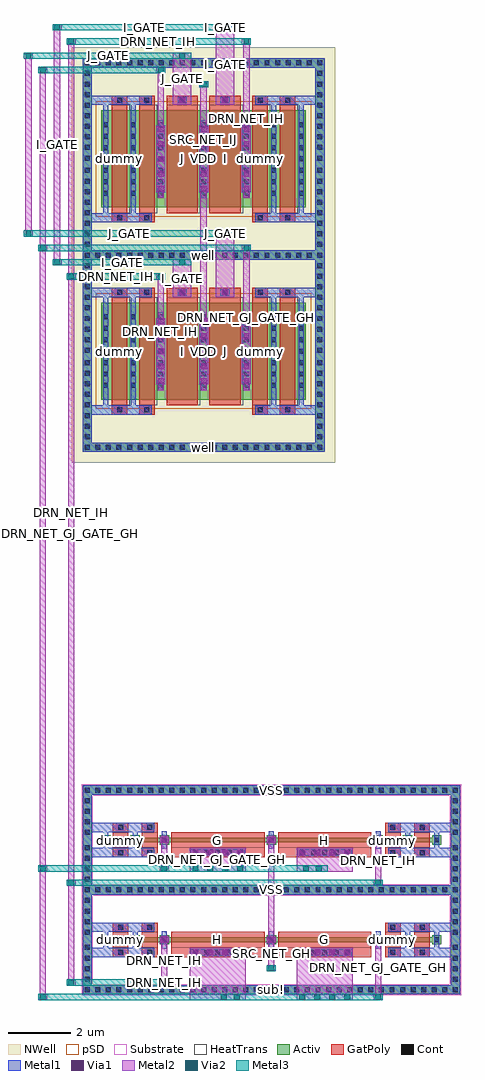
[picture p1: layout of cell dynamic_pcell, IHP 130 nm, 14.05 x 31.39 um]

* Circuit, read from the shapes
.subckt dynamic_pcell DRN_NET_GJ_GATE_GH DRN_NET_IH I_GATE J_GATE SRC_NET_GH SRC_NET_IJ VDD VSS
XM1 VSS VSS VSS VSS sg13_lv_nmos w=0.15u l=0.5u m=4
XM2 DRN_NET_IH VSS VSS VSS sg13_lv_nmos w=0.15u l=0.5u m=2
XM3 DRN_NET_GJ_GATE_GH VSS VSS VSS sg13_lv_nmos w=0.15u l=0.5u m=2
XM4 SRC_NET_GH DRN_NET_GJ_GATE_GH DRN_NET_IH VSS sg13_lv_nmos w=0.15u l=3u m=2
XM5 SRC_NET_GH DRN_NET_GJ_GATE_GH DRN_NET_GJ_GATE_GH VSS sg13_lv_nmos w=0.15u l=3u m=2
XM6 VDD VDD VDD VDD sg13_lv_pmos w=3.12u l=0.5u m=4
XM7 DRN_NET_IH VDD VDD VDD sg13_lv_pmos w=3.12u l=0.5u m=2
XM8 DRN_NET_GJ_GATE_GH VDD VDD VDD sg13_lv_pmos w=3.12u l=0.5u m=2
XM9 SRC_NET_IJ I_GATE DRN_NET_IH VDD sg13_lv_pmos w=3.12u l=1u m=2
XM10 SRC_NET_IJ J_GATE DRN_NET_GJ_GATE_GH VDD sg13_lv_pmos w=3.12u l=1u m=2
.ends

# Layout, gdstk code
import gdstk
lib = gdstk.Library(unit=1e-6, precision=1e-09)
def R(c, l, rs):  # rectangles x0, y0, x1, y1
    for r in rs: c.add(gdstk.rectangle(r[:2], r[2:], *l))
def A(c, l, x, y, w, h, nx, ny, dx, dy):  # array of equal rectangles
    R(c, l, [(x+i*dx, y+j*dy, x+i*dx+w, y+j*dy+h) for i in range(nx) for j in range(ny)])
def P(c, l, *ps):  # polygons
    for p in ps: c.add(gdstk.Polygon(p, *l))
Activ = (1, 0)
GatPoly = (5, 0)
Cont = (6, 0)
Metal1 = (8, 0)
Metal2 = (10, 0)
pSD = (14, 0)
Via1 = (19, 0)
Via2 = (29, 0)
Metal3 = (30, 0)
NWell = (31, 0)
Substrate = (40, 0)
HeatTrans = (51, 0)

dynamic_pcell = lib.new_cell('dynamic_pcell')
A(dynamic_pcell, Activ, 0, -17.52, 0.3, 0.3, 3, 2, 0.94, 3.21)
A(dynamic_pcell, Activ, 8.76, -17.52, 0.3, 0.3, 3, 2, 0.94, 3.21)
A(dynamic_pcell, Activ, 0, 0, 0.3, 0.3, 3, 2, 0.88, 6.18)
A(dynamic_pcell, Activ, 4.52, 0, 0.3, 0.3, 3, 2, 0.88, 6.18)
R(dynamic_pcell, Activ, [(-0.6,-19.125,11.54,-18.825), (-0.6,-18.825,-0.3,-15.915), (11.24,-18.825,11.54,-15.915), (1.88,-17.52,2.18,-17.22), (5.32,-17.52,5.62,-17.22), (5.32,-17.52,5.62,-17.22), (8.76,-17.52,9.06,-17.22), (0,-17.445,2.18,-17.295), (1.88,-17.445,5.62,-17.295), (5.32,-17.445,9.06,-17.295), (8.76,-17.445,10.94,-17.295), (-0.6,-15.915,11.54,-15.615), (-0.6,-15.615,-0.3,-12.705), (11.24,-15.615,11.54,-12.705), (1.88,-14.31,2.18,-14.01), (5.32,-14.31,5.62,-14.01), (5.32,-14.31,5.62,-14.01), (8.76,-14.31,9.06,-14.01), (0,-14.235,2.18,-14.085), (1.88,-14.235,5.62,-14.085), (5.32,-14.235,9.06,-14.085), (8.76,-14.235,10.94,-14.085), (-0.6,-1.68,7.18,-1.38), (-0.6,-1.38,-0.3,4.5), (6.88,-1.38,7.18,4.5), (0,0,2.06,3.12), (1.76,0,2.06,0.3), (1.76,0,3.44,3.12), (3.14,0,3.44,0.3), (3.14,0,3.44,0.3), (3.14,0,4.82,3.12), (4.52,0,4.82,0.3), (4.52,0,6.58,3.12), (-0.6,4.5,7.18,4.8), (-0.6,4.8,-0.3,10.68), (6.88,4.8,7.18,10.68), (0,6.18,2.06,9.3), (1.76,6.18,2.06,6.48), (1.76,6.18,3.44,9.3), (3.14,6.18,3.44,6.48), (3.14,6.18,3.44,6.48), (3.14,6.18,4.82,9.3), (4.52,6.18,4.82,6.48), (4.52,6.18,6.58,9.3)])
P(dynamic_pcell, Activ, [(-0.6,-1.68),(-0.6,4.5),(-0.3,4.5),(-0.3,-1.38),(6.88,-1.38),(6.88,4.5),(-0.6,4.5),(-0.6,4.8),(7.18,4.8),(7.18,-1.68)],
  [(-0.6,4.5),(-0.6,10.68),(-0.3,10.68),(-0.3,4.8),(6.88,4.8),(6.88,10.68),(-0.6,10.68),(-0.6,10.98),(7.18,10.98),(7.18,4.5)],
  [(-0.6,-15.915),(-0.6,-12.705),(-0.3,-12.705),(-0.3,-15.615),(11.24,-15.615),(11.24,-12.705),(-0.6,-12.705),(-0.6,-12.405),(11.54,-12.405),(11.54,-15.915)],
  [(-0.6,-19.125),(-0.6,-15.915),(-0.3,-15.915),(-0.3,-18.825),(11.24,-18.825),(11.24,-15.915),(-0.6,-15.915),(-0.6,-15.615),(11.54,-15.615),(11.54,-19.125)])
R(dynamic_pcell, GatPoly, [(0.37,-17.925,0.87,-17.625), (0.47,-17.925,0.77,-17.625), (1.31,-17.925,1.81,-17.625), (1.41,-17.925,1.71,-17.625), (2.25,-17.925,5.25,-17.625), (2.85,-17.925,4.65,-17.625), (5.69,-17.925,8.69,-17.625), (6.29,-17.925,8.09,-17.625), (9.13,-17.925,9.63,-17.625), (9.23,-17.925,9.53,-17.625), (10.07,-17.925,10.57,-17.625), (10.17,-17.925,10.47,-17.625), (0.37,-17.625,0.87,-17.115), (1.31,-17.625,1.81,-17.115), (2.25,-17.625,5.25,-17.115), (5.69,-17.625,8.69,-17.115), (9.13,-17.625,9.63,-17.115), (10.07,-17.625,10.57,-17.115), (0.37,-17.115,0.87,-16.815), (0.47,-17.115,0.77,-16.815), (1.31,-17.115,1.81,-16.815), (1.41,-17.115,1.71,-16.815), (9.13,-17.115,9.63,-16.815), (9.23,-17.115,9.53,-16.815), (10.07,-17.115,10.57,-16.815), (10.17,-17.115,10.47,-16.815), (0.37,-14.715,0.87,-14.415), (0.47,-14.715,0.77,-14.415), (1.31,-14.715,1.81,-14.415), (1.41,-14.715,1.71,-14.415), (2.25,-14.715,5.25,-14.415), (2.85,-14.715,4.65,-14.415), (5.69,-14.715,8.69,-14.415), (6.29,-14.715,8.09,-14.415), (9.13,-14.715,9.63,-14.415), (9.23,-14.715,9.53,-14.415), (10.07,-14.715,10.57,-14.415), (10.17,-14.715,10.47,-14.415), (0.37,-14.415,0.87,-13.905), (1.31,-14.415,1.81,-13.905), (2.25,-14.415,5.25,-13.905), (5.69,-14.415,8.69,-13.905), (9.13,-14.415,9.63,-13.905), (10.07,-14.415,10.57,-13.905), (0.37,-13.905,0.87,-13.605), (0.47,-13.905,0.77,-13.605), (1.31,-13.905,1.81,-13.605), (1.41,-13.905,1.71,-13.605), (9.13,-13.905,9.63,-13.605), (9.23,-13.905,9.53,-13.605), (10.07,-13.905,10.57,-13.605), (10.17,-13.905,10.47,-13.605), (0.34,-0.48,0.84,-0.18), (0.44,-0.48,0.74,-0.18), (1.22,-0.48,1.72,-0.18), (1.32,-0.48,1.62,-0.18), (4.86,-0.48,5.36,-0.18), (4.96,-0.48,5.26,-0.18), (5.74,-0.48,6.24,-0.18), (5.84,-0.48,6.14,-0.18), (0.34,-0.18,0.84,3.3), (1.22,-0.18,1.72,3.3), (2.1,-0.18,3.1,3.3), (3.48,-0.18,4.48,3.3), (4.86,-0.18,5.36,3.3), (5.74,-0.18,6.24,3.3), (0.34,3.3,0.84,3.6), (0.44,3.3,0.74,3.6), (1.22,3.3,1.72,3.6), (1.32,3.3,1.62,3.6), (2.1,3.3,3.1,3.6), (2.3,3.3,2.9,3.6), (3.48,3.3,4.48,3.6), (3.68,3.3,4.28,3.6), (4.86,3.3,5.36,3.6), (4.96,3.3,5.26,3.6), (5.74,3.3,6.24,3.6), (5.84,3.3,6.14,3.6), (0.34,5.7,0.84,6), (0.44,5.7,0.74,6), (1.22,5.7,1.72,6), (1.32,5.7,1.62,6), (4.86,5.7,5.36,6), (4.96,5.7,5.26,6), (5.74,5.7,6.24,6), (5.84,5.7,6.14,6), (0.34,6,0.84,9.48), (1.22,6,1.72,9.48), (2.1,6,3.1,9.48), (3.48,6,4.48,9.48), (4.86,6,5.36,9.48), (5.74,6,6.24,9.48), (0.34,9.48,0.84,9.78), (0.44,9.48,0.74,9.78), (1.22,9.48,1.72,9.78), (1.32,9.48,1.62,9.78), (2.1,9.48,3.1,9.78), (2.3,9.48,2.9,9.78), (3.48,9.48,4.48,9.78), (3.68,9.48,4.28,9.78), (4.86,9.48,5.36,9.78), (4.96,9.48,5.26,9.78), (5.74,9.48,6.24,9.78), (5.84,9.48,6.14,9.78)])
A(dynamic_pcell, Cont, -0.53, -19.055, 0.16, 0.16, 17, 2, 0.34, 6.42)
A(dynamic_pcell, Cont, 5.53, -19.055, 0.16, 0.16, 18, 2, 0.34, 6.42)
A(dynamic_pcell, Cont, -0.53, -18.715, 0.16, 0.16, 1, 4, 0, 0.34)
A(dynamic_pcell, Cont, 11.31, -18.715, 0.16, 0.16, 1, 4, 0, 0.34)
A(dynamic_pcell, Cont, 2.95, -17.855, 0.16, 0.16, 5, 2, 0.36, 3.21)
A(dynamic_pcell, Cont, 6.39, -17.855, 0.16, 0.16, 5, 2, 0.36, 3.21)
A(dynamic_pcell, Cont, 0.07, -17.45, 0.16, 0.16, 3, 2, 0.94, 3.21)
A(dynamic_pcell, Cont, 8.83, -17.45, 0.16, 0.16, 3, 2, 0.94, 3.21)
A(dynamic_pcell, Cont, -0.53, -17.205, 0.16, 0.16, 1, 5, 0, 0.34)
A(dynamic_pcell, Cont, 11.31, -17.205, 0.16, 0.16, 1, 5, 0, 0.34)
A(dynamic_pcell, Cont, -0.53, -15.845, 0.16, 0.16, 1, 5, 0, 0.34)
A(dynamic_pcell, Cont, 11.31, -15.845, 0.16, 0.16, 1, 5, 0, 0.34)
A(dynamic_pcell, Cont, -0.53, -13.995, 0.16, 0.16, 1, 4, 0, 0.34)
A(dynamic_pcell, Cont, 11.31, -13.995, 0.16, 0.16, 1, 4, 0, 0.34)
A(dynamic_pcell, Cont, -0.53, -1.61, 0.16, 0.16, 23, 2, 0.34, 12.36)
A(dynamic_pcell, Cont, -0.53, -1.27, 0.16, 0.16, 1, 8, 0, 0.34)
A(dynamic_pcell, Cont, 6.95, -1.27, 0.16, 0.16, 1, 8, 0, 0.34)
A(dynamic_pcell, Cont, 0.07, 0.38, 0.16, 0.16, 3, 3, 0.88, 0.365)
A(dynamic_pcell, Cont, 1.83, 0.38, 0.16, 0.16, 1, 3, 0, 0.365)
A(dynamic_pcell, Cont, 4.59, 0.38, 0.16, 0.16, 1, 3, 0, 0.365)
A(dynamic_pcell, Cont, 4.59, 0.38, 0.16, 0.16, 3, 3, 0.88, 0.365)
A(dynamic_pcell, Cont, 0.07, 1.48, 0.16, 0.16, 3, 3, 0.88, 0.365)
A(dynamic_pcell, Cont, 1.83, 1.48, 0.16, 0.16, 1, 3, 0, 0.365)
A(dynamic_pcell, Cont, 4.59, 1.48, 0.16, 0.16, 1, 3, 0, 0.365)
A(dynamic_pcell, Cont, 4.59, 1.48, 0.16, 0.16, 3, 3, 0.88, 0.365)
A(dynamic_pcell, Cont, -0.53, 1.51, 0.16, 0.16, 1, 10, 0, 0.34)
A(dynamic_pcell, Cont, 6.95, 1.51, 0.16, 0.16, 1, 10, 0, 0.34)
A(dynamic_pcell, Cont, 0.07, 2.58, 0.16, 0.16, 3, 2, 0.88, 3.98)
A(dynamic_pcell, Cont, 4.59, 2.58, 0.16, 0.16, 3, 2, 0.88, 3.98)
A(dynamic_pcell, Cont, -0.53, 4.57, 0.16, 0.16, 1, 9, 0, 0.34)
A(dynamic_pcell, Cont, 6.95, 4.57, 0.16, 0.16, 1, 9, 0, 0.34)
A(dynamic_pcell, Cont, 1.83, 6.56, 0.16, 0.16, 1, 3, 0, 0.365)
A(dynamic_pcell, Cont, 4.59, 6.56, 0.16, 0.16, 1, 3, 0, 0.365)
A(dynamic_pcell, Cont, 0.07, 6.925, 0.16, 0.16, 3, 2, 0.88, 0.365)
A(dynamic_pcell, Cont, 4.59, 6.925, 0.16, 0.16, 3, 2, 0.88, 0.365)
A(dynamic_pcell, Cont, 0.07, 7.66, 0.16, 0.16, 3, 3, 0.88, 0.365)
A(dynamic_pcell, Cont, 1.83, 7.66, 0.16, 0.16, 1, 3, 0, 0.365)
A(dynamic_pcell, Cont, 4.59, 7.66, 0.16, 0.16, 1, 3, 0, 0.365)
A(dynamic_pcell, Cont, 4.59, 7.66, 0.16, 0.16, 3, 3, 0.88, 0.365)
A(dynamic_pcell, Cont, -0.53, 7.69, 0.16, 0.16, 1, 9, 0, 0.34)
A(dynamic_pcell, Cont, 6.95, 7.69, 0.16, 0.16, 1, 9, 0, 0.34)
A(dynamic_pcell, Cont, 0.07, 8.76, 0.16, 0.16, 3, 1, 0.88, 0)
A(dynamic_pcell, Cont, 4.59, 8.76, 0.16, 0.16, 3, 1, 0.88, 0)
R(dynamic_pcell, Cont, [(0.54,-17.855,0.7,-17.695), (1.48,-17.855,1.64,-17.695), (9.3,-17.855,9.46,-17.695), (10.24,-17.855,10.4,-17.695), (1.95,-17.45,2.11,-17.29), (5.39,-17.45,5.55,-17.29), (5.39,-17.45,5.55,-17.29), (8.83,-17.45,8.99,-17.29), (0.54,-17.045,0.7,-16.885), (1.48,-17.045,1.64,-16.885), (9.3,-17.045,9.46,-16.885), (10.24,-17.045,10.4,-16.885), (-0.19,-15.845,-0.03,-15.685), (-0.19,-15.845,-0.03,-15.685), (0.15,-15.845,0.31,-15.685), (0.15,-15.845,0.31,-15.685), (0.49,-15.845,0.65,-15.685), (0.49,-15.845,0.65,-15.685), (0.83,-15.845,0.99,-15.685), (0.83,-15.845,0.99,-15.685), (1.17,-15.845,1.33,-15.685), (1.17,-15.845,1.33,-15.685), (1.51,-15.845,1.67,-15.685), (1.51,-15.845,1.67,-15.685), (1.85,-15.845,2.01,-15.685), (1.85,-15.845,2.01,-15.685), (2.19,-15.845,2.35,-15.685), (2.19,-15.845,2.35,-15.685), (2.53,-15.845,2.69,-15.685), (2.53,-15.845,2.69,-15.685), (2.87,-15.845,3.03,-15.685), (2.87,-15.845,3.03,-15.685), (3.21,-15.845,3.37,-15.685), (3.21,-15.845,3.37,-15.685), (3.55,-15.845,3.71,-15.685), (3.55,-15.845,3.71,-15.685), (3.89,-15.845,4.05,-15.685), (3.89,-15.845,4.05,-15.685), (4.23,-15.845,4.39,-15.685), (4.23,-15.845,4.39,-15.685), (4.57,-15.845,4.73,-15.685), (4.57,-15.845,4.73,-15.685), (4.91,-15.845,5.07,-15.685), (4.91,-15.845,5.07,-15.685), (5.53,-15.845,5.69,-15.685), (5.53,-15.845,5.69,-15.685), (5.87,-15.845,6.03,-15.685), (5.87,-15.845,6.03,-15.685), (6.21,-15.845,6.37,-15.685), (6.21,-15.845,6.37,-15.685), (6.55,-15.845,6.71,-15.685), (6.55,-15.845,6.71,-15.685), (6.89,-15.845,7.05,-15.685), (6.89,-15.845,7.05,-15.685), (7.23,-15.845,7.39,-15.685), (7.23,-15.845,7.39,-15.685), (7.57,-15.845,7.73,-15.685), (7.57,-15.845,7.73,-15.685), (7.91,-15.845,8.07,-15.685), (7.91,-15.845,8.07,-15.685), (8.25,-15.845,8.41,-15.685), (8.25,-15.845,8.41,-15.685), (8.59,-15.845,8.75,-15.685), (8.59,-15.845,8.75,-15.685), (8.93,-15.845,9.09,-15.685), (8.93,-15.845,9.09,-15.685), (9.27,-15.845,9.43,-15.685), (9.27,-15.845,9.43,-15.685), (9.61,-15.845,9.77,-15.685), (9.61,-15.845,9.77,-15.685), (9.95,-15.845,10.11,-15.685), (9.95,-15.845,10.11,-15.685), (10.29,-15.845,10.45,-15.685), (10.29,-15.845,10.45,-15.685), (10.63,-15.845,10.79,-15.685), (10.63,-15.845,10.79,-15.685), (10.97,-15.845,11.13,-15.685), (10.97,-15.845,11.13,-15.685), (0.54,-14.645,0.7,-14.485), (1.48,-14.645,1.64,-14.485), (9.3,-14.645,9.46,-14.485), (10.24,-14.645,10.4,-14.485), (1.95,-14.24,2.11,-14.08), (5.39,-14.24,5.55,-14.08), (5.39,-14.24,5.55,-14.08), (8.83,-14.24,8.99,-14.08), (0.54,-13.835,0.7,-13.675), (1.48,-13.835,1.64,-13.675), (9.3,-13.835,9.46,-13.675), (10.24,-13.835,10.4,-13.675), (0.51,-0.41,0.67,-0.25), (1.39,-0.41,1.55,-0.25), (5.03,-0.41,5.19,-0.25), (5.91,-0.41,6.07,-0.25), (3.21,0.38,3.37,0.54), (3.21,0.38,3.37,0.54), (3.21,0.745,3.37,0.905), (3.21,0.745,3.37,0.905), (3.21,1.11,3.37,1.27), (3.21,1.11,3.37,1.27), (3.21,1.48,3.37,1.64), (3.21,1.48,3.37,1.64), (3.21,1.845,3.37,2.005), (3.21,1.845,3.37,2.005), (3.21,2.21,3.37,2.37), (3.21,2.21,3.37,2.37), (1.83,2.58,1.99,2.74), (3.21,2.58,3.37,2.74), (3.21,2.58,3.37,2.74), (4.59,2.58,4.75,2.74), (0.51,3.37,0.67,3.53), (1.39,3.37,1.55,3.53), (2.52,3.37,2.68,3.53), (3.9,3.37,4.06,3.53), (5.03,3.37,5.19,3.53), (5.91,3.37,6.07,3.53), (-0.19,4.57,-0.03,4.73), (-0.19,4.57,-0.03,4.73), (0.15,4.57,0.31,4.73), (0.15,4.57,0.31,4.73), (0.49,4.57,0.65,4.73), (0.49,4.57,0.65,4.73), (0.83,4.57,0.99,4.73), (0.83,4.57,0.99,4.73), (1.17,4.57,1.33,4.73), (1.17,4.57,1.33,4.73), (1.51,4.57,1.67,4.73), (1.51,4.57,1.67,4.73), (1.85,4.57,2.01,4.73), (1.85,4.57,2.01,4.73), (2.19,4.57,2.35,4.73), (2.19,4.57,2.35,4.73), (2.53,4.57,2.69,4.73), (2.53,4.57,2.69,4.73), (2.87,4.57,3.03,4.73), (2.87,4.57,3.03,4.73), (3.21,4.57,3.37,4.73), (3.21,4.57,3.37,4.73), (3.55,4.57,3.71,4.73), (3.55,4.57,3.71,4.73), (3.89,4.57,4.05,4.73), (3.89,4.57,4.05,4.73), (4.23,4.57,4.39,4.73), (4.23,4.57,4.39,4.73), (4.57,4.57,4.73,4.73), (4.57,4.57,4.73,4.73), (4.91,4.57,5.07,4.73), (4.91,4.57,5.07,4.73), (5.25,4.57,5.41,4.73), (5.25,4.57,5.41,4.73), (5.59,4.57,5.75,4.73), (5.59,4.57,5.75,4.73), (5.93,4.57,6.09,4.73), (5.93,4.57,6.09,4.73), (6.27,4.57,6.43,4.73), (6.27,4.57,6.43,4.73), (6.61,4.57,6.77,4.73), (6.61,4.57,6.77,4.73), (0.51,5.77,0.67,5.93), (1.39,5.77,1.55,5.93), (5.03,5.77,5.19,5.93), (5.91,5.77,6.07,5.93), (3.21,6.56,3.37,6.72), (3.21,6.56,3.37,6.72), (3.21,6.925,3.37,7.085), (3.21,6.925,3.37,7.085), (3.21,7.29,3.37,7.45), (3.21,7.29,3.37,7.45), (3.21,7.66,3.37,7.82), (3.21,7.66,3.37,7.82), (3.21,8.025,3.37,8.185), (3.21,8.025,3.37,8.185), (3.21,8.39,3.37,8.55), (3.21,8.39,3.37,8.55), (1.83,8.76,1.99,8.92), (3.21,8.76,3.37,8.92), (3.21,8.76,3.37,8.92), (4.59,8.76,4.75,8.92), (0.51,9.55,0.67,9.71), (1.39,9.55,1.55,9.71), (2.52,9.55,2.68,9.71), (3.9,9.55,4.06,9.71), (5.03,9.55,5.19,9.71), (5.91,9.55,6.07,9.71)])
A(dynamic_pcell, Metal1, 0.07, -17.5, 0.16, 0.26, 3, 2, 0.94, 3.21)
A(dynamic_pcell, Metal1, 8.83, -17.5, 0.16, 0.26, 3, 2, 0.94, 3.21)
A(dynamic_pcell, Metal1, 0.07, 0.31, 0.16, 2.5, 3, 2, 0.88, 6.18)
A(dynamic_pcell, Metal1, 4.59, 0.31, 0.16, 2.5, 3, 2, 0.88, 6.18)
R(dynamic_pcell, Metal1, [(-0.6,-19.125,11.54,-18.825), (-0.6,-18.825,-0.3,-15.915), (11.24,-18.825,11.54,-15.915), (-0.6,-17.925,1.71,-17.625), (0.07,-17.925,0.23,-16.815), (1.01,-17.925,1.17,-16.815), (9.23,-17.925,11.54,-17.625), (9.77,-17.925,9.93,-16.815), (10.71,-17.925,10.87,-16.815), (2.885,-17.88,4.615,-17.67), (6.325,-17.88,8.055,-17.67), (0.49,-17.855,0.75,-17.695), (1.43,-17.855,1.69,-17.695), (2.9,-17.855,4.6,-17.695), (6.34,-17.855,8.04,-17.695), (9.25,-17.855,9.51,-17.695), (10.19,-17.855,10.45,-17.695), (1.95,-17.65,2.11,-17.09), (5.39,-17.65,5.55,-17.09), (5.39,-17.65,5.55,-17.09), (8.83,-17.65,8.99,-17.09), (1.95,-17.5,2.11,-17.24), (5.39,-17.5,5.55,-17.24), (5.39,-17.5,5.55,-17.24), (8.83,-17.5,8.99,-17.24), (1.885,-17.475,2.175,-17.265), (5.325,-17.475,5.615,-17.265), (5.325,-17.475,5.615,-17.265), (5.325,-17.475,5.615,-17.265), (5.325,-17.475,5.615,-17.265), (8.765,-17.475,9.055,-17.265), (-0.6,-17.115,1.71,-16.815), (9.23,-17.115,11.54,-16.815), (0.49,-17.045,0.75,-16.885), (1.43,-17.045,1.69,-16.885), (9.25,-17.045,9.51,-16.885), (10.19,-17.045,10.45,-16.885), (-0.6,-15.915,11.54,-15.615), (-0.6,-15.915,11.54,-15.615), (-0.6,-15.615,-0.3,-12.705), (11.24,-15.615,11.54,-12.705), (-0.6,-14.715,1.71,-14.415), (0.07,-14.715,0.23,-13.605), (1.01,-14.715,1.17,-13.605), (9.23,-14.715,11.54,-14.415), (9.77,-14.715,9.93,-13.605), (10.71,-14.715,10.87,-13.605), (2.885,-14.67,4.615,-14.46), (6.325,-14.67,8.055,-14.46), (0.49,-14.645,0.75,-14.485), (1.43,-14.645,1.69,-14.485), (2.9,-14.645,4.6,-14.485), (6.34,-14.645,8.04,-14.485), (9.25,-14.645,9.51,-14.485), (10.19,-14.645,10.45,-14.485), (1.95,-14.44,2.11,-13.88), (5.39,-14.44,5.55,-13.88), (5.39,-14.44,5.55,-13.88), (8.83,-14.44,8.99,-13.88), (1.95,-14.29,2.11,-14.03), (5.39,-14.29,5.55,-14.03), (5.39,-14.29,5.55,-14.03), (8.83,-14.29,8.99,-14.03), (1.885,-14.265,2.175,-14.055), (5.325,-14.265,5.615,-14.055), (5.325,-14.265,5.615,-14.055), (8.765,-14.265,9.055,-14.055), (-0.6,-13.905,1.71,-13.605), (9.23,-13.905,11.54,-13.605), (0.49,-13.835,0.75,-13.675), (1.43,-13.835,1.69,-13.675), (9.25,-13.835,9.51,-13.675), (10.19,-13.835,10.45,-13.675), (-0.6,-12.705,11.54,-12.405), (-0.6,-1.68,7.18,-1.38), (-0.6,-1.38,-0.3,4.5), (6.88,-1.38,7.18,4.5), (-0.6,-0.48,1.62,-0.18), (0.07,-0.48,0.23,3.6), (0.95,-0.48,1.11,3.6), (4.96,-0.48,7.18,-0.18), (5.47,-0.48,5.63,3.6), (6.35,-0.48,6.51,3.6), (0.46,-0.41,0.72,-0.25), (1.34,-0.41,1.6,-0.25), (4.98,-0.41,5.24,-0.25), (5.86,-0.41,6.12,-0.25), (1.83,0.31,1.99,2.81), (3.21,0.31,3.37,2.81), (3.21,0.31,3.37,2.81), (4.59,0.31,4.75,2.81), (1.765,0.495,2.055,2.625), (3.145,0.495,3.435,2.625), (3.145,0.495,3.435,2.625), (4.525,0.495,4.815,2.625), (-0.6,3.3,1.62,3.6), (4.96,3.3,7.18,3.6), (2.455,3.345,2.745,3.555), (3.835,3.345,4.125,3.555), (0.46,3.37,0.72,3.53), (1.34,3.37,1.6,3.53), (2.47,3.37,2.73,3.53), (3.85,3.37,4.11,3.53), (4.98,3.37,5.24,3.53), (5.86,3.37,6.12,3.53), (-0.6,4.5,7.18,4.8), (-0.6,4.5,7.18,4.8), (-0.6,4.8,-0.3,10.68), (6.88,4.8,7.18,10.68), (-0.6,5.7,1.62,6), (0.07,5.7,0.23,9.78), (0.95,5.7,1.11,9.78), (4.96,5.7,7.18,6), (5.47,5.7,5.63,9.78), (6.35,5.7,6.51,9.78), (0.46,5.77,0.72,5.93), (1.34,5.77,1.6,5.93), (4.98,5.77,5.24,5.93), (5.86,5.77,6.12,5.93), (1.83,6.49,1.99,8.99), (3.21,6.49,3.37,8.99), (3.21,6.49,3.37,8.99), (4.59,6.49,4.75,8.99), (1.765,6.675,2.055,8.805), (3.145,6.675,3.435,8.805), (3.145,6.675,3.435,8.805), (3.145,6.675,3.435,8.805), (3.145,6.675,3.435,8.805), (4.525,6.675,4.815,8.805), (-0.6,9.48,1.62,9.78), (4.96,9.48,7.18,9.78), (2.455,9.525,2.745,9.735), (3.835,9.525,4.125,9.735), (0.46,9.55,0.72,9.71), (1.34,9.55,1.6,9.71), (2.47,9.55,2.73,9.71), (3.85,9.55,4.11,9.71), (4.98,9.55,5.24,9.71), (5.86,9.55,6.12,9.71), (-0.6,10.68,7.18,10.98)])
A(dynamic_pcell, Metal2, 8.765, -19.305, 0.29, 0.2, 1, 3, 0, 1.835)
R(dynamic_pcell, Metal2, [(-2.025,-19.305,-1.735,-19.105), (-1.98,-19.305,-1.78,10.7), (2.85,-19.305,4.65,-17.625), (3.8,-19.305,4.5,-19.105), (6.29,-19.305,8.09,-17.625), (6.325,-19.305,8.055,-19.105), (8.81,-19.305,9.01,-17.24), (-1.105,-18.845,-0.815,-18.645), (-1.06,-18.845,-0.86,11.62), (1.885,-18.845,2.175,-18.645), (1.93,-18.845,2.13,-17.24), (5.325,-18.385,5.615,-18.185), (5.325,-18.385,5.615,-18.185), (5.37,-18.385,5.57,-17.24), (5.37,-18.385,5.57,-17.24), (2.885,-17.875,4.615,-17.675), (6.325,-17.875,8.055,-17.675), (5.37,-17.5,5.57,-14.03), (5.37,-17.5,5.57,-14.03), (1.885,-17.47,2.175,-17.27), (5.325,-17.47,5.615,-17.27), (5.325,-17.47,5.615,-17.27), (5.325,-17.47,5.615,-17.27), (5.325,-17.47,5.615,-17.27), (-1.105,-15.635,-0.815,-15.435), (8.81,-15.635,9.01,-14.03), (-2.025,-15.175,-1.735,-14.975), (1.885,-15.175,2.175,-14.975), (1.93,-15.175,2.13,-14.03), (2.85,-15.175,4.65,-14.415), (2.885,-15.175,4.615,-14.975), (6.29,-15.175,8.09,-14.415), (6.44,-15.175,7.14,-14.975), (2.885,-14.665,4.615,-14.465), (6.325,-14.665,8.055,-14.465), (1.885,-14.26,2.175,-14.06), (5.325,-14.26,5.615,-14.06), (5.325,-14.26,5.615,-14.06), (8.765,-14.26,9.055,-14.06), (1.81,0.31,2.01,4.06), (3.19,0.31,3.39,8.99), (3.19,0.31,3.39,8.99), (4.57,0.31,4.77,4.98), (1.765,0.5,2.055,2.62), (3.145,0.5,3.435,2.62), (3.145,0.5,3.435,2.62), (4.525,0.5,4.815,2.62), (2.3,3.3,2.9,4.52), (3.68,3.3,4.28,5.44), (2.455,3.35,2.745,3.55), (3.835,3.35,4.125,3.55), (-1.105,3.86,-0.815,4.06), (1.765,3.86,2.055,4.06), (-1.565,4.32,-1.275,4.52), (-1.52,4.32,-1.32,12.08), (2.455,4.32,2.745,4.52), (-2.025,4.78,-1.735,4.98), (4.525,4.78,4.815,4.98), (-2.485,5.24,-2.195,5.44), (-2.44,5.24,-2.24,11.16), (3.835,5.24,4.125,5.44), (1.81,6.49,2.01,10.7), (3.19,6.49,3.39,10.24), (3.19,6.49,3.39,10.24), (4.57,6.49,4.77,11.62), (1.765,6.68,2.055,8.8), (3.145,6.68,3.435,8.8), (3.145,6.68,3.435,8.8), (3.145,6.68,3.435,8.8), (3.145,6.68,3.435,8.8), (4.525,6.68,4.815,8.8), (2.3,9.48,2.9,11.16), (3.68,9.48,4.28,12.08), (2.455,9.53,2.745,9.73), (3.835,9.53,4.125,9.73), (3.145,10.04,3.435,10.24), (3.145,10.04,3.435,10.24), (-2.025,10.5,-1.735,10.7), (1.765,10.5,2.055,10.7), (-2.485,10.96,-2.195,11.16), (2.455,10.96,2.745,11.16), (-1.105,11.42,-0.815,11.62), (4.525,11.42,4.815,11.62), (-1.565,11.88,-1.275,12.08), (3.835,11.88,4.125,12.08)])
R(dynamic_pcell, pSD, [(-0.63,-19.155,11.57,-18.795), (-0.63,-18.795,-0.27,-15.945), (11.21,-18.795,11.57,-15.945), (-0.63,-15.945,11.57,-15.585), (-0.63,-15.585,-0.27,-12.735), (11.21,-15.585,11.57,-12.735), (-0.18,-0.3,2.24,3.42), (1.58,-0.3,3.62,3.42), (2.96,-0.3,5,3.42), (4.34,-0.3,6.76,3.42), (-0.18,5.88,2.24,9.6), (1.58,5.88,3.62,9.6), (2.96,5.88,5,9.6), (4.34,5.88,6.76,9.6)])
P(dynamic_pcell, pSD, [(-0.63,-15.945),(-0.63,-12.735),(-0.27,-12.735),(-0.27,-15.585),(11.21,-15.585),(11.21,-12.735),(-0.63,-12.735),(-0.63,-12.375),(11.57,-12.375),(11.57,-15.945)],
  [(-0.63,-19.155),(-0.63,-15.945),(-0.27,-15.945),(-0.27,-18.795),(11.21,-18.795),(11.21,-15.945),(-0.63,-15.945),(-0.63,-15.585),(11.57,-15.585),(11.57,-19.155)])
A(dynamic_pcell, Via1, 2.935, -17.87, 0.19, 0.19, 4, 2, 0.48, 3.21)
A(dynamic_pcell, Via1, 6.375, -17.87, 0.19, 0.19, 4, 2, 0.48, 3.21)
A(dynamic_pcell, Via1, 1.815, 0.505, 0.19, 0.19, 1, 5, 0, 0.48)
A(dynamic_pcell, Via1, 4.575, 0.505, 0.19, 0.19, 1, 5, 0, 0.48)
A(dynamic_pcell, Via1, 1.815, 6.685, 0.19, 0.19, 1, 5, 0, 0.48)
A(dynamic_pcell, Via1, 4.575, 6.685, 0.19, 0.19, 1, 5, 0, 0.48)
R(dynamic_pcell, Via1, [(1.935,-17.465,2.125,-17.275), (5.375,-17.465,5.565,-17.275), (5.375,-17.465,5.565,-17.275), (5.375,-17.465,5.565,-17.275), (5.375,-17.465,5.565,-17.275), (8.815,-17.465,9.005,-17.275), (1.935,-14.255,2.125,-14.065), (5.375,-14.255,5.565,-14.065), (5.375,-14.255,5.565,-14.065), (8.815,-14.255,9.005,-14.065), (3.195,0.505,3.385,0.695), (3.195,0.505,3.385,0.695), (3.195,0.985,3.385,1.175), (3.195,0.985,3.385,1.175), (3.195,1.465,3.385,1.655), (3.195,1.465,3.385,1.655), (3.195,1.945,3.385,2.135), (3.195,1.945,3.385,2.135), (3.195,2.425,3.385,2.615), (3.195,2.425,3.385,2.615), (2.505,3.355,2.695,3.545), (3.885,3.355,4.075,3.545), (3.195,6.685,3.385,6.875), (3.195,6.685,3.385,6.875), (3.195,6.685,3.385,6.875), (3.195,6.685,3.385,6.875), (3.195,7.165,3.385,7.355), (3.195,7.165,3.385,7.355), (3.195,7.165,3.385,7.355), (3.195,7.165,3.385,7.355), (3.195,7.645,3.385,7.835), (3.195,7.645,3.385,7.835), (3.195,7.645,3.385,7.835), (3.195,7.645,3.385,7.835), (3.195,8.125,3.385,8.315), (3.195,8.125,3.385,8.315), (3.195,8.125,3.385,8.315), (3.195,8.125,3.385,8.315), (3.195,8.605,3.385,8.795), (3.195,8.605,3.385,8.795), (3.195,8.605,3.385,8.795), (3.195,8.605,3.385,8.795), (2.505,9.535,2.695,9.725), (3.885,9.535,4.075,9.725)])
A(dynamic_pcell, Via2, 6.375, -19.3, 0.19, 0.19, 4, 1, 0.48, 0)
A(dynamic_pcell, Via2, 2.935, -15.17, 0.19, 0.19, 4, 1, 0.48, 0)
R(dynamic_pcell, Via2, [(-1.975,-19.3,-1.785,-19.11), (3.85,-19.3,4.04,-19.11), (4.26,-19.3,4.45,-19.11), (8.815,-19.3,9.005,-19.11), (-1.055,-18.84,-0.865,-18.65), (1.935,-18.84,2.125,-18.65), (5.375,-18.38,5.565,-18.19), (5.375,-18.38,5.565,-18.19), (-1.055,-15.63,-0.865,-15.44), (8.815,-15.63,9.005,-15.44), (-1.975,-15.17,-1.785,-14.98), (1.935,-15.17,2.125,-14.98), (6.49,-15.17,6.68,-14.98), (6.9,-15.17,7.09,-14.98), (-1.055,3.865,-0.865,4.055), (1.815,3.865,2.005,4.055), (-1.515,4.325,-1.325,4.515), (2.505,4.325,2.695,4.515), (-1.975,4.785,-1.785,4.975), (4.575,4.785,4.765,4.975), (-2.435,5.245,-2.245,5.435), (3.885,5.245,4.075,5.435), (3.195,10.045,3.385,10.235), (3.195,10.045,3.385,10.235), (-1.975,10.505,-1.785,10.695), (1.815,10.505,2.005,10.695), (-2.435,10.965,-2.245,11.155), (2.505,10.965,2.695,11.155), (-1.055,11.425,-0.865,11.615), (4.575,11.425,4.765,11.615), (-1.515,11.885,-1.325,12.075), (3.885,11.885,4.075,12.075)])
R(dynamic_pcell, Metal3, [(-2.025,-19.305,-1.735,-19.105), (-1.98,-19.305,9.01,-19.105), (3.65,-19.305,9.01,-19.105), (3.8,-19.305,4.5,-19.105), (6.325,-19.305,8.055,-19.105), (8.765,-19.305,9.055,-19.105), (-1.105,-18.845,-0.815,-18.645), (-1.06,-18.845,2.13,-18.645), (1.885,-18.845,2.175,-18.645), (1.93,-18.845,2.13,-18.645), (5.325,-18.385,5.615,-18.185), (5.325,-18.385,5.615,-18.185), (5.37,-18.385,5.57,-18.185), (-1.105,-15.635,-0.815,-15.435), (-1.06,-15.635,9.01,-15.435), (8.765,-15.635,9.055,-15.435), (-2.025,-15.175,-1.735,-14.975), (-1.98,-15.175,7.29,-14.975), (1.885,-15.175,2.175,-14.975), (1.93,-15.175,7.29,-14.975), (2.885,-15.175,4.615,-14.975), (6.44,-15.175,7.14,-14.975), (-1.105,3.86,-0.815,4.06), (-1.06,3.86,2.01,4.06), (1.765,3.86,2.055,4.06), (1.81,3.86,2.01,4.06), (-1.565,4.32,-1.275,4.52), (-1.52,4.32,2.9,4.52), (2.3,4.32,2.9,4.52), (2.455,4.32,2.745,4.52), (-2.025,4.78,-1.735,4.98), (-1.98,4.78,4.77,4.98), (4.525,4.78,4.815,4.98), (-2.485,5.24,-2.195,5.44), (-2.44,5.24,4.28,5.44), (3.68,5.24,4.28,5.44), (3.835,5.24,4.125,5.44), (3.145,10.04,3.435,10.24), (3.145,10.04,3.435,10.24), (3.19,10.04,3.39,10.24), (-2.025,10.5,-1.735,10.7), (-1.98,10.5,2.01,10.7), (1.765,10.5,2.055,10.7), (1.81,10.5,2.01,10.7), (-2.485,10.96,-2.195,11.16), (-2.44,10.96,2.9,11.16), (2.3,10.96,2.9,11.16), (2.455,10.96,2.745,11.16), (-1.105,11.42,-0.815,11.62), (-1.06,11.42,4.77,11.62), (4.525,11.42,4.815,11.62), (-1.565,11.88,-1.275,12.08), (-1.52,11.88,4.28,12.08), (3.68,11.88,4.28,12.08), (3.835,11.88,4.125,12.08)])
R(dynamic_pcell, NWell, [(-0.95,-2.03,7.53,5.15), (-0.31,-0.31,2.37,3.43), (1.45,-0.31,3.75,3.43), (2.83,-0.31,5.13,3.43), (4.21,-0.31,6.89,3.43), (-0.95,4.15,7.53,11.33), (-0.31,5.87,2.37,9.61), (1.45,5.87,3.75,9.61), (2.83,5.87,5.13,9.61), (4.21,5.87,6.89,9.61)])
A(dynamic_pcell, Substrate, 1.88, -17.52, 0.3, 0.3, 3, 2, 3.44, 3.21)
A(dynamic_pcell, Substrate, 1.76, 0, 0.3, 0.3, 3, 2, 1.38, 6.18)
R(dynamic_pcell, Substrate, [(-0.63,-19.155,11.57,-18.795), (-0.63,-18.795,-0.27,-15.945), (11.21,-18.795,11.57,-15.945), (10.64,-17.52,10.94,-17.22), (-0.63,-15.945,11.57,-15.585), (-0.63,-15.585,-0.27,-12.735), (11.21,-15.585,11.57,-12.735), (10.64,-14.31,10.94,-14.01), (6.28,0,6.58,0.3), (6.28,6.18,6.58,6.48)])
P(dynamic_pcell, Substrate, [(-0.63,-15.945),(-0.63,-12.735),(-0.27,-12.735),(-0.27,-15.585),(11.21,-15.585),(11.21,-12.735),(-0.63,-12.735),(-0.63,-12.375),(11.57,-12.375),(11.57,-15.945)],
  [(-0.63,-19.155),(-0.63,-15.945),(-0.27,-15.945),(-0.27,-18.795),(11.21,-18.795),(11.21,-15.945),(-0.63,-15.945),(-0.63,-15.585),(11.57,-15.585),(11.57,-19.155)])
R(dynamic_pcell, HeatTrans, [(0.37,-17.625,0.87,-17.115), (1.31,-17.625,1.81,-17.115), (2.25,-17.625,5.25,-17.115), (5.69,-17.625,8.69,-17.115), (9.13,-17.625,9.63,-17.115), (10.07,-17.625,10.57,-17.115), (0.37,-14.415,0.87,-13.905), (1.31,-14.415,1.81,-13.905), (2.25,-14.415,5.25,-13.905), (5.69,-14.415,8.69,-13.905), (9.13,-14.415,9.63,-13.905), (10.07,-14.415,10.57,-13.905), (0.34,-0.18,0.92,3.3), (1.22,-0.18,1.8,3.3), (2.1,-0.18,3.18,3.3), (3.48,-0.18,4.56,3.3), (4.86,-0.18,5.44,3.3), (5.74,-0.18,6.32,3.3), (0.34,6,0.92,9.48), (1.22,6,1.8,9.48), (2.1,6,3.18,9.48), (3.48,6,4.56,9.48), (4.86,6,5.44,9.48), (5.74,6,6.32,9.48)])
dynamic_pcell.add(gdstk.Label('VSS', (5.47,-12.555), layer=8, texttype=0))
dynamic_pcell.add(gdstk.Label('VSS', (5.47,-15.765), layer=8, texttype=0))
dynamic_pcell.add(gdstk.Label('VDD', (3.29,1.56), layer=31, texttype=0))
dynamic_pcell.add(gdstk.Label('VDD', (3.29,7.74), layer=31, texttype=0))
dynamic_pcell.add(gdstk.Label('dummy', (0.59,1.56), layer=63, texttype=0))
dynamic_pcell.add(gdstk.Label('dummy', (1.47,1.56), layer=63, texttype=0))
dynamic_pcell.add(gdstk.Label('I', (2.6,1.56), layer=63, texttype=0))
dynamic_pcell.add(gdstk.Label('J', (3.98,1.56), layer=63, texttype=0))
dynamic_pcell.add(gdstk.Label('dummy', (5.11,1.56), layer=63, texttype=0))
dynamic_pcell.add(gdstk.Label('dummy', (5.99,1.56), layer=63, texttype=0))
dynamic_pcell.add(gdstk.Label('well', (3.29,-1.53), layer=63, texttype=0))
dynamic_pcell.add(gdstk.Label('dummy', (0.59,7.74), layer=63, texttype=0))
dynamic_pcell.add(gdstk.Label('dummy', (1.47,7.74), layer=63, texttype=0))
dynamic_pcell.add(gdstk.Label('J', (2.6,7.74), layer=63, texttype=0))
dynamic_pcell.add(gdstk.Label('I', (3.98,7.74), layer=63, texttype=0))
dynamic_pcell.add(gdstk.Label('dummy', (5.11,7.74), layer=63, texttype=0))
dynamic_pcell.add(gdstk.Label('dummy', (5.99,7.74), layer=63, texttype=0))
dynamic_pcell.add(gdstk.Label('well', (3.29,4.65), layer=63, texttype=0))
dynamic_pcell.add(gdstk.Label('dummy', (0.62,-14.16), layer=63, texttype=0))
dynamic_pcell.add(gdstk.Label('dummy', (1.56,-14.16), layer=63, texttype=0))
dynamic_pcell.add(gdstk.Label('G', (3.75,-14.16), layer=63, texttype=0))
dynamic_pcell.add(gdstk.Label('H', (7.19,-14.16), layer=63, texttype=0))
dynamic_pcell.add(gdstk.Label('dummy', (9.38,-14.16), layer=63, texttype=0))
dynamic_pcell.add(gdstk.Label('dummy', (10.32,-14.16), layer=63, texttype=0))
dynamic_pcell.add(gdstk.Label('sub!', (5.47,-15.765), layer=63, texttype=0))
dynamic_pcell.add(gdstk.Label('dummy', (0.62,-17.37), layer=63, texttype=0))
dynamic_pcell.add(gdstk.Label('dummy', (1.56,-17.37), layer=63, texttype=0))
dynamic_pcell.add(gdstk.Label('H', (3.75,-17.37), layer=63, texttype=0))
dynamic_pcell.add(gdstk.Label('G', (7.19,-17.37), layer=63, texttype=0))
dynamic_pcell.add(gdstk.Label('dummy', (9.38,-17.37), layer=63, texttype=0))
dynamic_pcell.add(gdstk.Label('dummy', (10.32,-17.37), layer=63, texttype=0))
dynamic_pcell.add(gdstk.Label('sub!', (5.47,-18.975), layer=63, texttype=0))
dynamic_pcell.add(gdstk.Label('DRN_NET_IH', (1.91,2.185), layer=10, texttype=0))
dynamic_pcell.add(gdstk.Label('I_GATE', (2.6,3.91), layer=10, texttype=0))
dynamic_pcell.add(gdstk.Label('DRN_NET_GJ_GATE_GH', (4.67,2.645), layer=10, texttype=0))
dynamic_pcell.add(gdstk.Label('J_GATE', (3.98,4.37), layer=10, texttype=0))
dynamic_pcell.add(gdstk.Label('SRC_NET_IJ', (3.29,8.365), layer=10, texttype=0))
dynamic_pcell.add(gdstk.Label('SRC_NET_IJ', (3.29,8.365), layer=10, texttype=0))
dynamic_pcell.add(gdstk.Label('DRN_NET_GJ_GATE_GH', (1.91,8.595), layer=10, texttype=0))
dynamic_pcell.add(gdstk.Label('J_GATE', (2.6,10.32), layer=10, texttype=0))
dynamic_pcell.add(gdstk.Label('DRN_NET_IH', (4.67,9.055), layer=10, texttype=0))
dynamic_pcell.add(gdstk.Label('I_GATE', (3.98,10.78), layer=10, texttype=0))
dynamic_pcell.add(gdstk.Label('SRC_NET_IJ', (3.29,4.65), layer=10, texttype=0))
dynamic_pcell.add(gdstk.Label('SRC_NET_IJ', (3.29,4.65), layer=10, texttype=0))
dynamic_pcell.add(gdstk.Label('DRN_NET_GJ_GATE_GH', (2.03,-14.603), layer=10, texttype=0))
dynamic_pcell.add(gdstk.Label('DRN_NET_GJ_GATE_GH', (3.75,-14.795), layer=10, texttype=0))
dynamic_pcell.add(gdstk.Label('DRN_NET_GJ_GATE_GH', (7.19,-14.795), layer=10, texttype=0))
dynamic_pcell.add(gdstk.Label('DRN_NET_IH', (8.91,-14.833), layer=10, texttype=0))
dynamic_pcell.add(gdstk.Label('SRC_NET_GH', (5.47,-17.813), layer=10, texttype=0))
dynamic_pcell.add(gdstk.Label('SRC_NET_GH', (5.47,-17.813), layer=10, texttype=0))
dynamic_pcell.add(gdstk.Label('DRN_NET_IH', (2.03,-18.043), layer=10, texttype=0))
dynamic_pcell.add(gdstk.Label('DRN_NET_GJ_GATE_GH', (3.75,-18.465), layer=10, texttype=0))
dynamic_pcell.add(gdstk.Label('DRN_NET_GJ_GATE_GH', (8.91,-18.273), layer=10, texttype=0))
dynamic_pcell.add(gdstk.Label('DRN_NET_GJ_GATE_GH', (7.19,-18.465), layer=10, texttype=0))
dynamic_pcell.add(gdstk.Label('SRC_NET_GH', (5.47,-15.765), layer=10, texttype=0))
dynamic_pcell.add(gdstk.Label('SRC_NET_GH', (5.47,-15.765), layer=10, texttype=0))
dynamic_pcell.add(gdstk.Label('DRN_NET_IH', (-0.96,-3.613), layer=10, texttype=0))
dynamic_pcell.add(gdstk.Label('I_GATE', (-1.42,8.2), layer=10, texttype=0))
dynamic_pcell.add(gdstk.Label('DRN_NET_GJ_GATE_GH', (-1.88,-4.303), layer=10, texttype=0))
dynamic_pcell.add(gdstk.Label('J_GATE', (-2.34,8.2), layer=10, texttype=0))
dynamic_pcell.add(gdstk.Label('DRN_NET_IH', (1.91,3.96), layer=30, texttype=0))
dynamic_pcell.add(gdstk.Label('I_GATE', (2.6,4.42), layer=30, texttype=0))
dynamic_pcell.add(gdstk.Label('J_GATE', (3.98,5.34), layer=30, texttype=0))
dynamic_pcell.add(gdstk.Label('SRC_NET_IJ', (3.29,10.14), layer=30, texttype=0))
dynamic_pcell.add(gdstk.Label('DRN_NET_GJ_GATE_GH', (1.91,10.6), layer=30, texttype=0))
dynamic_pcell.add(gdstk.Label('J_GATE', (2.6,11.06), layer=30, texttype=0))
dynamic_pcell.add(gdstk.Label('I_GATE', (3.98,11.98), layer=30, texttype=0))
dynamic_pcell.add(gdstk.Label('DRN_NET_GJ_GATE_GH', (4.61,-15.075), layer=30, texttype=0))
dynamic_pcell.add(gdstk.Label('SRC_NET_GH', (5.47,-18.285), layer=30, texttype=0))
dynamic_pcell.add(gdstk.Label('DRN_NET_IH', (2.03,-18.745), layer=30, texttype=0))
dynamic_pcell.add(gdstk.Label('DRN_NET_GJ_GATE_GH', (6.33,-19.205), layer=30, texttype=0))
dynamic_pcell.add(gdstk.Label('DRN_NET_IH', (0.475,3.96), layer=30, texttype=0))
dynamic_pcell.add(gdstk.Label('DRN_NET_IH', (1.855,11.52), layer=30, texttype=0))
dynamic_pcell.add(gdstk.Label('DRN_NET_IH', (3.975,-15.535), layer=30, texttype=0))
dynamic_pcell.add(gdstk.Label('DRN_NET_IH', (0.535,-18.745), layer=30, texttype=0))
dynamic_pcell.add(gdstk.Label('I_GATE', (0.69,4.42), layer=30, texttype=0))
dynamic_pcell.add(gdstk.Label('I_GATE', (1.38,11.98), layer=30, texttype=0))
dynamic_pcell.add(gdstk.Label('DRN_NET_GJ_GATE_GH', (1.395,4.88), layer=30, texttype=0))
dynamic_pcell.add(gdstk.Label('DRN_NET_GJ_GATE_GH', (0.015,10.6), layer=30, texttype=0))
dynamic_pcell.add(gdstk.Label('DRN_NET_GJ_GATE_GH', (2.655,-15.075), layer=30, texttype=0))
dynamic_pcell.add(gdstk.Label('DRN_NET_GJ_GATE_GH', (3.515,-19.205), layer=30, texttype=0))
dynamic_pcell.add(gdstk.Label('J_GATE', (0.92,5.34), layer=30, texttype=0))
dynamic_pcell.add(gdstk.Label('J_GATE', (0.23,11.06), layer=30, texttype=0))
dynamic_pcell.add(gdstk.Label('pmos', (0.63,1.56), layer=51, texttype=0))
dynamic_pcell.add(gdstk.Label('pmos', (1.51,1.56), layer=51, texttype=0))
dynamic_pcell.add(gdstk.Label('pmos', (2.64,1.56), layer=51, texttype=0))
dynamic_pcell.add(gdstk.Label('pmos', (4.02,1.56), layer=51, texttype=0))
dynamic_pcell.add(gdstk.Label('pmos', (5.15,1.56), layer=51, texttype=0))
dynamic_pcell.add(gdstk.Label('pmos', (6.03,1.56), layer=51, texttype=0))
dynamic_pcell.add(gdstk.Label('pmos', (0.63,7.74), layer=51, texttype=0))
dynamic_pcell.add(gdstk.Label('pmos', (1.51,7.74), layer=51, texttype=0))
dynamic_pcell.add(gdstk.Label('pmos', (2.64,7.74), layer=51, texttype=0))
dynamic_pcell.add(gdstk.Label('pmos', (4.02,7.74), layer=51, texttype=0))
dynamic_pcell.add(gdstk.Label('pmos', (5.15,7.74), layer=51, texttype=0))
dynamic_pcell.add(gdstk.Label('pmos', (6.03,7.74), layer=51, texttype=0))
dynamic_pcell.add(gdstk.Label('nmos', (0.62,-14.16), layer=51, texttype=0))
dynamic_pcell.add(gdstk.Label('nmos', (1.56,-14.16), layer=51, texttype=0))
dynamic_pcell.add(gdstk.Label('nmos', (3.75,-14.16), layer=51, texttype=0))
dynamic_pcell.add(gdstk.Label('nmos', (7.19,-14.16), layer=51, texttype=0))
dynamic_pcell.add(gdstk.Label('nmos', (9.38,-14.16), layer=51, texttype=0))
dynamic_pcell.add(gdstk.Label('nmos', (10.32,-14.16), layer=51, texttype=0))
dynamic_pcell.add(gdstk.Label('nmos', (0.62,-17.37), layer=51, texttype=0))
dynamic_pcell.add(gdstk.Label('nmos', (1.56,-17.37), layer=51, texttype=0))
dynamic_pcell.add(gdstk.Label('nmos', (3.75,-17.37), layer=51, texttype=0))
dynamic_pcell.add(gdstk.Label('nmos', (7.19,-17.37), layer=51, texttype=0))
dynamic_pcell.add(gdstk.Label('nmos', (9.38,-17.37), layer=51, texttype=0))
dynamic_pcell.add(gdstk.Label('nmos', (10.32,-17.37), layer=51, texttype=0))

lib.write_gds('dynamic_pcell.gds')
